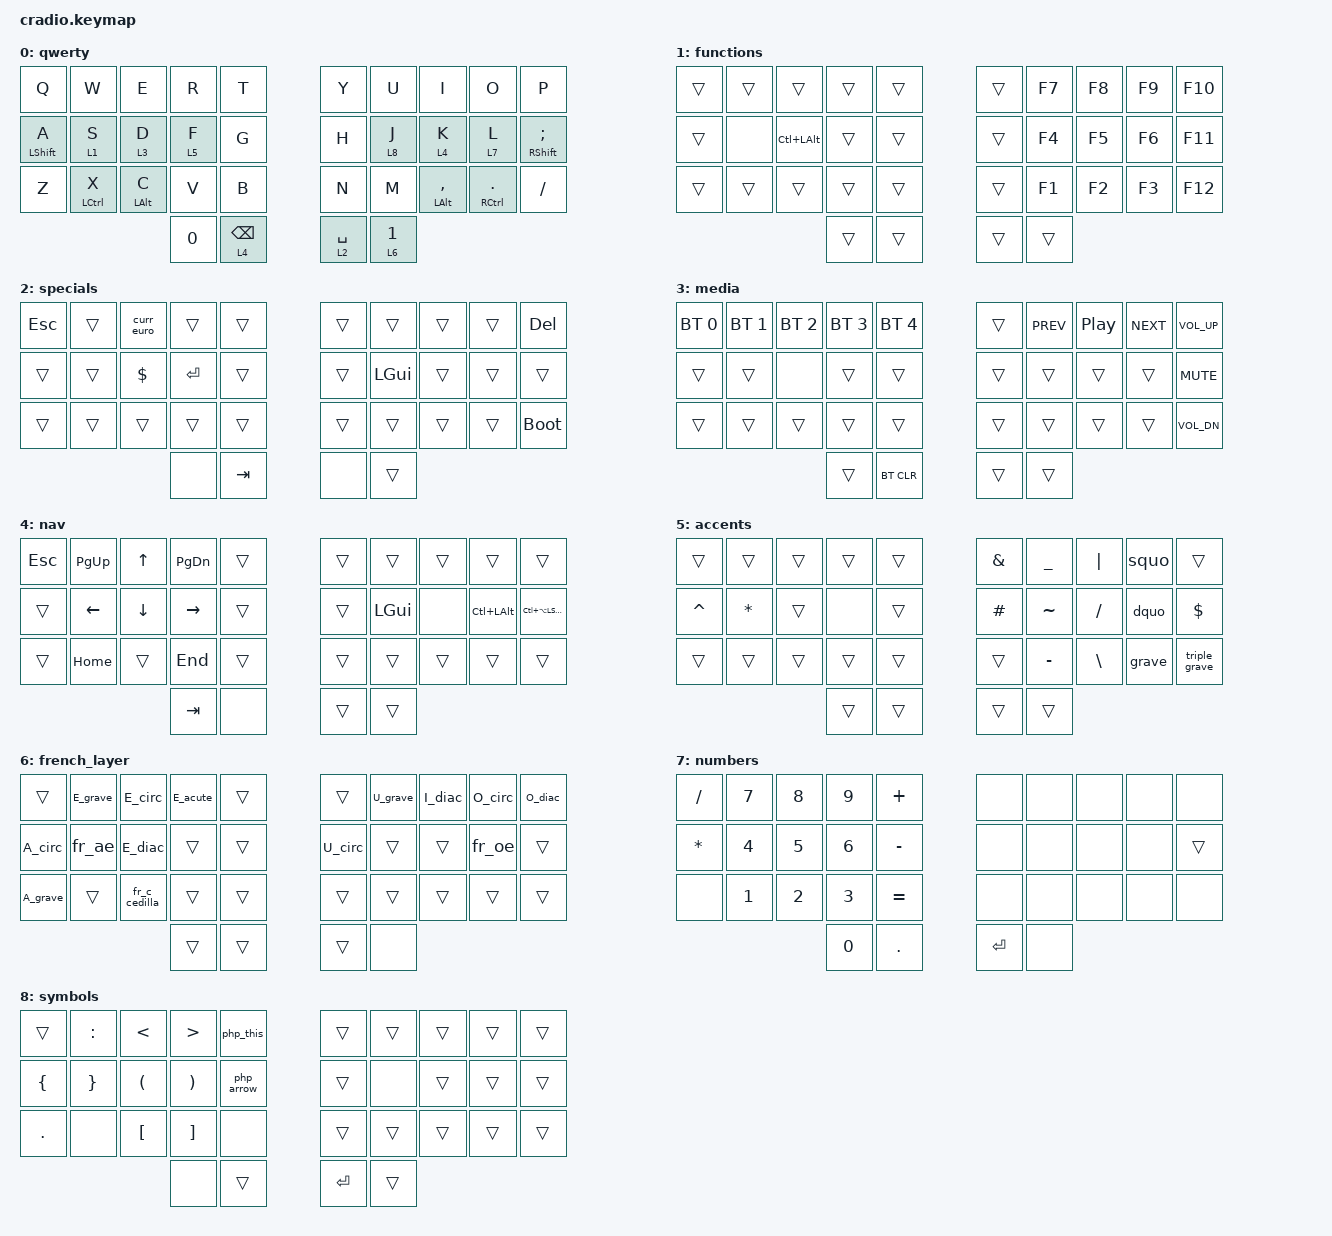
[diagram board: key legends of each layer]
#define HOST_OS 1

#include <behaviors.dtsi>
#include <dt-bindings/zmk/keys.h>
#include <dt-bindings/zmk/bt.h>
#include "zmk-helpers/helper.h"
#include "zmk-helpers/unicode-chars/french.dtsi"
#include "zmk-helpers/unicode-chars/currency.dtsi"
#include "helper.h"

// Credits : https://github.com/toniz4/zmk-config
AC_KEY(A_acute, A, SQT)
AC_KEY(A_grave, A, GRAVE)
AC_KEY(A_diac, A, DQT)
AC_KEY(A_circ,  A, LS(N6))

AC_KEY(E_acute, E, SQT)
AC_KEY(E_grave, E, GRAVE)
AC_KEY(E_diac, E, DQT)
AC_KEY(E_circ,  E, LS(N6))

AC_KEY(I_diac, I, DQT)
AC_KEY(I_circ,  I, LS(N6))

AC_KEY(O_acute, O, SQT)
AC_KEY(O_diac, O, DQT)
AC_KEY(O_circ,  O, LS(N6))

AC_KEY(U_grave, U, GRAVE)
AC_KEY(U_circ,  U, LS(N6))

UNDEAD_KEY(squo, SQT)
UNDEAD_KEY(dquo, DQT)
UNDEAD_KEY(grave, GRAVE)

ZMK_UNICODE_PAIR(fr_ae,             N0, N0, E, N6,   N0, N0, C, N6)  // æ/Æ
ZMK_UNICODE_PAIR(fr_oe,             N0, N1, N5, N3,  N0, N1, N5, N2) // œ/Œ
ZMK_UNICODE_PAIR(fr_c_cedilla,      N0, N0, E, N7,   N0, N0, C, N7)  // ç/Ç

&lt {
    tapping-term-ms = <TAPPING_TERM>;
    quick-tap-ms = <200>;
    flavor = "tap-preferred";
};

/ {
    macros {
        // Triple grave macro (M_TRIPLEGRV)

        triple_grave: triple_grave {
            compatible = "zmk,behavior-macro";
            #binding-cells = <0>;
            bindings = <&grave &grave &grave>;
        };

        php_this: php_this {
            compatible = "zmk,behavior-macro";
            #binding-cells = <0>;
            bindings = <&kp DOLLAR &kp T &kp H &kp I &kp S>;
        };

        php_arrow: php_arrow {
            compatible = "zmk,behavior-macro";
            #binding-cells = <0>;
            bindings = <&kp MINUS &kp GREATER_THAN>;
        };

    };

    behaviors {
        hm: homerow_mods {
            compatible = "zmk,behavior-hold-tap";
            label = "HOMEROW_MODS";
            #binding-cells = <2>;
            tapping-term-ms = <TAPPING_TERM>;
            quick_tap_ms = <150>;
            flavor = "tap-preferred";
            bindings = <&kp>, <&kp>;
        };

    };

    combos {
        compatible = "zmk,combos";
        capsw {
            bindings = <&caps_word>;
            key-positions = <10 19>;
            layers = <0>;
        };
    };

    keymap {
        compatible = "zmk,keymap";

        qwerty {
            bindings = <
&kp Q        &kp W               &kp E           &kp R    &kp T             &kp Y  &kp U    &kp I               &kp O                  &kp P
&hm LSHFT A  &lt 1 S             &lt 3 D         &lt 5 F  &kp G             &kp H  &lt 8 J  &lt 4 K             &lt 7 L                &hm RIGHT_SHIFT SEMICOLON
&kp Z        &hm LEFT_CONTROL X  &hm LEFT_ALT C  &kp V    &kp B             &kp N  &kp M    &hm LEFT_ALT COMMA  &hm RIGHT_CONTROL DOT  &kp SLASH
                                &kp N0       &lt 4 BACKSPACE                &lt 2 SPACE            &lt 6 N1
            >;
        };

        functions {
            bindings = <
&trans  &trans  &trans        &trans  &trans    &trans &kp F7  &kp F8  &kp F9  &kp F10
&trans  &none   &kp LC(LALT)  &trans  &trans    &trans &kp F4  &kp F5  &kp F6  &kp F11
&trans  &trans  &trans        &trans  &trans    &trans &kp F1  &kp F2  &kp F3  &kp F12
&trans  &trans                                                          &trans   &trans
            >;
        };

        specials {
            bindings = <
&kp ESC  &trans  &curr_euro  &trans     &trans    &trans  &trans  &trans  &trans  &kp DEL
&trans   &trans  &kp DOLLAR  &kp ENTER  &trans    &trans &kp LGUI &trans  &trans  &trans
&trans   &trans  &trans      &trans     &trans    &trans  &trans  &trans  &trans  &bootloader
&none  &kp TAB                                                           &none   &trans
            >;
        };

        media {
            bindings = <
&bt BT_SEL 0  &bt BT_SEL 1  &bt BT_SEL 2  &bt BT_SEL 3  &bt BT_SEL 4    &trans  &kp C_PREV  &kp C_PLAY_PAUSE  &kp C_NEXT  &kp C_VOL_UP
&trans  &trans  &none   &trans  &trans    &trans  &trans  &trans  &trans  &kp C_MUTE
&trans  &trans  &trans  &trans  &trans    &trans  &trans  &trans  &trans  &kp C_VOL_DN
&trans  &bt BT_CLR                                                    &trans  &trans
            >;
        };

        nav {
            bindings = <
&kp ESC  &kp PG_UP  &kp UP    &kp PG_DN  &trans    &trans  &trans    &trans  &trans        &trans
&trans   &kp LEFT   &kp DOWN  &kp RIGHT  &trans    &trans  &kp LGUI  &none   &kp LC(LALT)  &kp LC(LA(LSHFT))
&trans   &kp HOME   &trans    &kp END    &trans    &trans  &trans    &trans  &trans        &trans
&kp TAB  &none                                                               &trans        &trans
            >;
        };

        accents {
            bindings = <
&trans     &trans     &trans    &trans  &trans    &kp AMPS    &kp UNDER  &kp PIPE  &squo   &trans
&kp CARET  &kp ASTRK  &trans    &none   &trans    &kp HASH  &kp TILDE  &kp FSLH  &dquo   &kp DLLR
&trans     &trans     &trans    &trans  &trans    &trans    &kp MINUS  &kp BSLH  &grave  &triple_grave
                    &trans     &trans                     &trans  &trans
            >;
        };

        french_layer {
            bindings = <
&trans  &E_grave &E_circ &E_acute &trans    &trans  &U_grave &I_diac &O_circ &O_diac
&A_circ &fr_ae &E_diac &trans &trans               &U_circ &trans &trans &fr_oe &trans
&A_grave &trans &fr_c_cedilla &trans &trans              &trans &trans &trans &trans &trans
&trans          &trans                 &trans          &none
            >;
        };

        numbers {
            bindings = <
&kp SLASH  &kp N7    &kp N8  &kp N9  &kp PLUS     &none  &none  &none  &none      &none
&kp STAR   &kp N4    &kp N5  &kp N6  &kp MINUS    &none  &none  &none  &none      &trans
&none     &kp N1    &kp N2  &kp N3  &kp EQUAL    &none  &none  &none  &none      &none
&kp N0      &kp DOT                                                  &kp ENTER  &none
            >;
        };

        symbols {
            bindings = <
&trans          &kp COLON        &kp LESS_THAN         &kp GREATER_THAN       &php_this        &trans  &trans  &trans  &trans     &trans
&kp LEFT_BRACE  &kp RIGHT_BRACE  &kp LEFT_PARENTHESIS  &kp RIGHT_PARENTHESIS  &php_arrow       &trans  &none   &trans  &trans     &trans
&kp DOT         &none            &kp LEFT_BRACKET      &kp RIGHT_BRACKET      &none            &trans  &trans  &trans  &trans     &trans
&none           &trans                                                                         &kp ENTER  &trans
            >;
        };
    };
};
